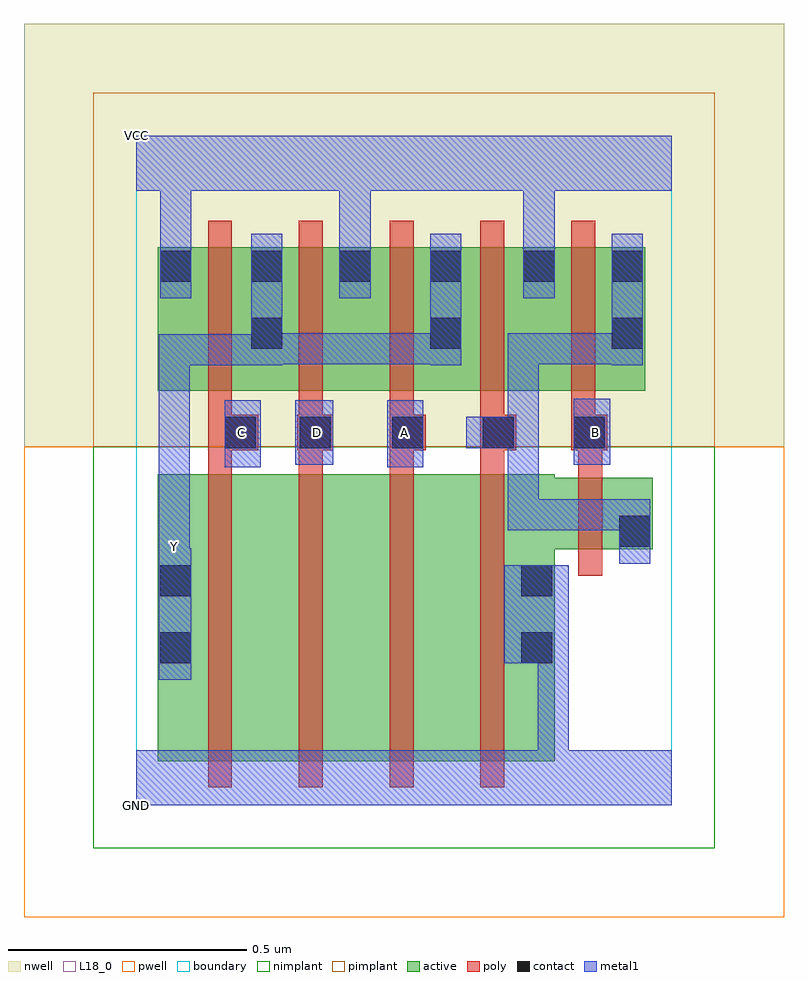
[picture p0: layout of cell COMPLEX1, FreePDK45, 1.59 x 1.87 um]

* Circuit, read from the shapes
.subckt COMPLEX1 A B C D GND VCC Y
M1 n1 C Y VSUBS nfet w=0.6u l=0.05u
M2 n2 D n1 VSUBS nfet w=0.6u l=0.05u
M3 n3 A n2 VSUBS nfet w=0.6u l=0.05u
M4 GND n4 n3 VSUBS nfet w=0.6u l=0.05u
M5 n4 B GND VSUBS nfet w=0.15u l=0.05u
M6 Y C VCC n5 pfet w=0.3u l=0.05u
M7 VCC D Y n5 pfet w=0.3u l=0.05u
M8 Y A VCC n5 pfet w=0.3u l=0.05u
M9 VCC n4 Y n5 pfet w=0.3u l=0.05u
M10 n4 B VCC n5 pfet w=0.3u l=0.05u
.ends

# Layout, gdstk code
import gdstk
lib = gdstk.Library(unit=1e-6, precision=1e-09)
def R(c, l, rs):  # rectangles x0, y0, x1, y1
    for r in rs: c.add(gdstk.rectangle(r[:2], r[2:], *l))
def A(c, l, x, y, w, h, nx, ny, dx, dy):  # array of equal rectangles
    R(c, l, [(x+i*dx, y+j*dy, x+i*dx+w, y+j*dy+h) for i in range(nx) for j in range(ny)])
active = (1, 0)
pwell = (2, 0)
nwell = (3, 0)
nimplant = (4, 0)
pimplant = (5, 0)
poly = (9, 0)
contact = (10, 0)
metal1 = (11, 0)
L18_0 = (18, 0)
boundary = (235, 0)

complex1 = lib.new_cell('COMPLEX1')
R(complex1, active, [(0.045,0.092,0.27,0.692), (0.27,0.092,0.46,0.692), (0.46,0.092,0.65,0.692), (0.65,0.092,0.875,0.692), (0.8,0.092,0.875,0.535), (0.045,0.095,0.15,0.692), (0.8,0.535,1.08,0.685), (1.005,0.535,1.08,0.685), (0.045,0.867,0.31,1.167), (0.045,0.867,0.12,1.167), (0.235,0.867,0.495,1.167), (0.42,0.867,0.685,1.167), (0.61,0.867,0.88,1.167), (0.805,0.867,1.065,1.167), (0.99,0.867,1.065,1.165), (0.235,0.907,0.31,1.167), (0.61,0.95,0.685,1.167), (0.42,1.002,0.495,1.167), (0.805,1.007,0.88,1.167)])
R(complex1, pwell, [(-0.235,-0.235,1.355,0.75)])
R(complex1, nwell, [(-0.235,0.75,1.355,1.635)])
R(complex1, nimplant, [(-0.09,-0.09,1.21,0.75)])
R(complex1, pimplant, [(-0.09,0.75,1.21,1.49)])
A(complex1, poly, 0.15, 0.037, 0.05, 0.71, 4, 1, 0.19, 0)
A(complex1, poly, 0.15, 0.697, 0.05, 0.095, 4, 1, 0.19, 0)
A(complex1, poly, 0.53, 0.742, 0.075, 0.075, 3, 1, 0.19, 0)
A(complex1, poly, 0.15, 0.767, 0.05, 0.095, 5, 1, 0.19, 0)
A(complex1, poly, 0.15, 0.812, 0.05, 0.41, 5, 1, 0.19, 0)
R(complex1, poly, [(0.925,0.48,0.975,0.74), (0.925,0.69,0.975,0.792), (0.15,0.742,0.255,0.817), (0.337,0.742,0.412,0.817)])
A(complex1, contact, 0.535, 0.747, 0.065, 0.065, 3, 1, 0.19, 0)
R(complex1, contact, [(0.05,0.297,0.115,0.362), (0.805,0.297,0.87,0.362), (0.05,0.437,0.115,0.502), (0.805,0.437,0.87,0.502), (1.01,0.54,1.075,0.605), (0.185,0.747,0.25,0.812), (0.342,0.747,0.407,0.812), (0.24,0.955,0.305,1.02), (0.615,0.955,0.68,1.02), (0.995,0.955,1.06,1.02), (0.05,1.095,0.115,1.16), (0.24,1.095,0.305,1.16), (0.425,1.095,0.49,1.16), (0.615,1.095,0.68,1.16), (0.81,1.095,0.875,1.16), (0.995,1.095,1.06,1.16)])
R(complex1, metal1, [(0,0,1.12,0.115), (0.84,0.05,0.905,0.362), (0.047,0.262,0.115,0.537), (0.77,0.297,0.905,0.502), (0.047,0.472,0.112,0.537), (0.047,0.472,0.112,0.607), (1.01,0.505,1.075,0.64), (0.047,0.542,0.112,0.985), (0.777,0.575,0.842,0.64), (0.777,0.575,1.075,0.64), (0.777,0.575,0.842,0.812), (1.01,0.575,1.075,0.64), (1.01,0.575,1.075,0.64), (0.185,0.707,0.26,0.847), (0.525,0.707,0.6,0.847), (0.332,0.712,0.412,0.847), (0.915,0.712,0.992,0.85), (0.69,0.747,0.825,0.812), (0.76,0.747,0.842,0.812), (0.777,0.747,0.842,0.812), (0.777,0.747,0.842,0.987), (0.047,0.92,0.112,0.985), (0.047,0.92,0.112,0.985), (0.047,0.92,0.112,0.985), (0.047,0.92,0.305,0.985), (0.24,0.92,0.305,1.195), (0.615,0.92,0.68,1.195), (0.995,0.92,1.06,1.195), (0.24,0.922,0.305,0.987), (0.24,0.922,0.305,0.987), (0.24,0.922,0.442,0.987), (0.377,0.922,0.442,0.987), (0.377,0.922,0.442,0.987), (0.377,0.922,0.442,0.987), (0.377,0.922,0.68,0.987), (0.777,0.922,0.842,0.987), (0.777,0.922,1.06,0.987), (0.995,0.922,1.06,0.987), (0.995,0.922,1.06,0.987), (0.05,1.06,0.115,1.195), (0.425,1.06,0.49,1.195), (0.81,1.06,0.875,1.195), (0.05,1.13,0.115,1.195), (0.05,1.13,0.115,1.195), (0.05,1.13,0.115,1.35), (0.425,1.13,0.49,1.195), (0.425,1.13,0.49,1.195), (0.425,1.13,0.49,1.35), (0.81,1.13,0.875,1.195), (0.81,1.13,0.875,1.195), (0.81,1.13,0.875,1.35), (0,1.285,1.12,1.4)])
R(complex1, L18_0, [(0,0,1.12,0.115), (0.84,0.05,0.905,0.362), (0.047,0.262,0.115,0.537), (0.77,0.297,0.905,0.502), (0.047,0.472,0.112,0.607), (0.047,0.472,0.112,0.537), (0.047,0.507,0.112,0.572), (0.047,0.542,0.112,0.985), (0.185,0.707,0.26,0.847), (0.525,0.707,0.6,0.847), (0.332,0.712,0.412,0.847), (0.915,0.712,0.992,0.85), (0.187,0.747,0.252,0.812), (0.347,0.747,0.412,0.812), (0.527,0.747,0.592,0.812), (0.927,0.747,0.992,0.812), (0.047,0.92,0.112,0.985), (0.047,0.92,0.112,0.985), (0.047,0.92,0.112,0.985), (0.047,0.92,0.305,0.985), (0.24,0.92,0.305,1.195), (0.615,0.92,0.68,1.195), (0.24,0.922,0.305,0.987), (0.24,0.922,0.305,0.987), (0.24,0.922,0.442,0.987), (0.377,0.922,0.442,0.987), (0.377,0.922,0.442,0.987), (0.377,0.922,0.442,0.987), (0.377,0.922,0.68,0.987), (0.05,1.06,0.115,1.195), (0.425,1.06,0.49,1.195), (0.81,1.06,0.875,1.195), (0.05,1.13,0.115,1.195), (0.05,1.13,0.115,1.195), (0.05,1.13,0.115,1.35), (0.425,1.13,0.49,1.195), (0.425,1.13,0.49,1.195), (0.425,1.13,0.49,1.35), (0.81,1.13,0.875,1.195), (0.81,1.13,0.875,1.195), (0.81,1.13,0.875,1.35), (0,1.285,1.12,1.4)])
R(complex1, boundary, [(0,0,1.12,1.4)])
complex1.add(gdstk.Label('A', (0.56,0.78), layer=11, texttype=0))
complex1.add(gdstk.Label('B', (0.96,0.78), layer=11, texttype=0))
complex1.add(gdstk.Label('C', (0.22,0.78), layer=11, texttype=0))
complex1.add(gdstk.Label('D', (0.38,0.78), layer=11, texttype=0))
complex1.add(gdstk.Label('Y', (0.08,0.54), layer=11, texttype=0))
complex1.add(gdstk.Label('VCC', (0,1.4), layer=11, texttype=0))
complex1.add(gdstk.Label('GND', (0,0), layer=11, texttype=0))

lib.write_gds('COMPLEX1.gds')
